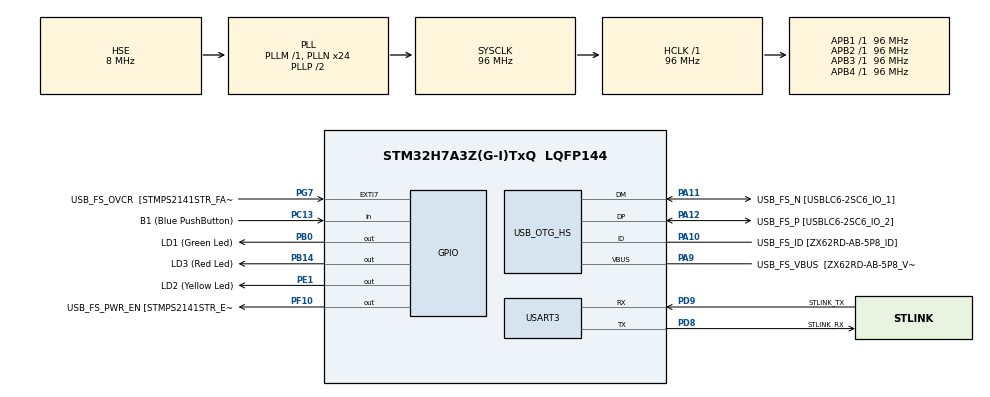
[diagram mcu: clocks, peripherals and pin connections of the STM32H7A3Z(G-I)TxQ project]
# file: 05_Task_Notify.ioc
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Mcu.Family=STM32H7
Mcu.Name=STM32H7A3Z(G-I)TxQ
Mcu.Package=LQFP144
NVIC.PriorityGroup=NVIC_PRIORITYGROUP_4
NVIC.TIM6_DAC_IRQn=true\:15\:0\:false\:false\:true\:false\:true\:true
NVIC.TimeBase=TIM6_DAC_IRQn
NVIC.TimeBaseIP=TIM6
PA10.GPIO_Label=USB_FS_ID [ZX62RD-AB-5P8_ID]
PA10.Mode=OTG/Dual-Role-Device-FS
PA10.Signal=USB_OTG_HS_ID
PA11.GPIO_Label=USB_FS_N [USBLC6-2SC6_IO_1]
PA11.Mode=OTG/Dual-Role-Device-FS
PA11.Signal=USB_OTG_HS_DM
PA12.GPIO_Label=USB_FS_P [USBLC6-2SC6_IO_2]
PA12.Mode=OTG/Dual-Role-Device-FS
PA12.Signal=USB_OTG_HS_DP
PA9.GPIO_Label=USB_FS_VBUS  [ZX62RD-AB-5P8_VBUS]
PA9.Mode=Activate_VBUS_FS
PA9.Signal=USB_OTG_HS_VBUS
PB0.GPIO_Label=LD1 (Green Led)
PB0.Signal=GPIO_Output
PB14.GPIO_Label=LD3 (Red Led)
PB14.Signal=GPIO_Output
PC13.GPIO_Label=B1 (Blue PushButton)
PC13.Signal=GPIO_Input
PC14-OSC32_IN.GPIO_Label=OSC32_IN
PC14-OSC32_IN.Mode=LSE-External-Oscillator
PC14-OSC32_IN.Signal=RCC_OSC32_IN
PC15-OSC32_OUT.GPIO_Label=OSC32_OUT
PC15-OSC32_OUT.Mode=LSE-External-Oscillator
PC15-OSC32_OUT.Signal=RCC_OSC32_OUT
PD8.GPIO_Label=STLINK_RX
PD8.Mode=Asynchronous
PD8.Signal=USART3_TX
PD9.GPIO_Label=STLINK_TX
PD9.Mode=Asynchronous
PD9.Signal=USART3_RX
PE1.GPIO_Label=LD2 (Yellow Led)
PE1.Signal=GPIO_Output
PF10.GPIO_Label=USB_FS_PWR_EN [STMPS2141STR_EN]
PF10.Signal=GPIO_Output
PG7.GPIO_Label=USB_FS_OVCR  [STMPS2141STR_FAULT]
PG7.Signal=GPXTI7
PH0-OSC_IN.GPIO_Label=PH0-MCU
PH0-OSC_IN.Mode=HSE-External-Clock-Source
PH0-OSC_IN.Signal=RCC_OSC_IN
PH1-OSC_OUT.GPIO_Label=PH1-MCU
PH1-OSC_OUT.Signal=RCC_OSC_OUT
ProjectManager.HeapSize=0x200
ProjectManager.StackSize=0x400
ProjectManager.TargetToolchain=STM32CubeIDE
RCC.ADCFreq_Value=16125000
RCC.APB1Freq_Value=96000000
RCC.APB2Freq_Value=96000000
RCC.APB3Freq_Value=96000000
RCC.APB4Freq_Value=96000000
RCC.CortexFreq_Value=96000000
RCC.DIVM1=1
RCC.DIVM3=1
RCC.DIVN1=24
RCC.DIVN3=24
RCC.DIVQ1=4
RCC.HCLKFreq_Value=96000000
RCC.HSE_VALUE=8000000
RCC.PLLFRACN=0
RCC.PLLSourceVirtual=RCC_PLLSOURCE_HSE
RCC.PWR_Regulator_Voltage_Scale=PWR_REGULATOR_VOLTAGE_SCALE0
RCC.SYSCLKFreq_VALUE=96000000
RCC.SYSCLKSource=RCC_SYSCLKSOURCE_PLLCLK
RCC.SupplySource=PWR_DIRECT_SMPS_SUPPLY
RCC.USBCLockSelection=RCC_USBCLKSOURCE_HSI48
RCC.USBFreq_Value=48000000
USART3.VirtualMode-Asynchronous=VM_ASYNC
VP_SYS_VS_tim6.Mode=TIM6
board=NUCLEO-H7A3ZI-Q

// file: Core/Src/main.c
/* USER CODE BEGIN Header */
/**
  ******************************************************************************
  * @file           : main.c
  * @brief          : Main program body
  ******************************************************************************
  * @attention
  *
  * Copyright (c) 2023 STMicroelectronics.
  * All rights reserved.
  *
  * This software is licensed under terms that can be found in the LICENSE file
  * in the root directory of this software component.
  * If no LICENSE file comes with this software, it is provided AS-IS.
  *
  ******************************************************************************
  */
/* USER CODE END Header */
#include "main.h"

/* USER CODE BEGIN Includes */
#include "FreeRTOS.h"
#include "task.h"

/* USER CODE END Includes */

/* USER CODE BEGIN PM */
#define pdMS_TO_TICKS(x) p(x)
/* USER CODE END PM */

UART_HandleTypeDef huart3;

/* USER CODE BEGIN PV */

TaskHandle_t next_handler = NULL;

TaskHandle_t led1_handler;
TaskHandle_t led2_handler;
TaskHandle_t user_button_handler;
TaskHandle_t led3_handler;

/* USER CODE END PV */

void SystemClock_Config(void);
static void MX_GPIO_Init(void);
static void MX_USART3_UART_Init(void);
static void MX_USB_OTG_HS_USB_Init(void);
/* USER CODE BEGIN PFP */

static void button_task(void* parameters);
static void led1_task(void*);
static void led2_task(void*);
static void led3_task(void*);

/* USER CODE END PFP */

int main(void)
{

  /* MCU Configuration--------------------------------------------------------*/

  /* Reset of all peripherals, Initializes the Flash interface and the Systick. */
  HAL_Init();

  /* Configure the system clock */
  SystemClock_Config();

  /* Initialize all configured peripherals */
  MX_GPIO_Init();
  MX_USART3_UART_Init();
  MX_USB_OTG_HS_USB_Init();
  /* USER CODE BEGIN 2 */

  BaseType_t status;
  status = xTaskCreate(button_task, "Button task", 1000, NULL, 2, &user_button_handler);

  configASSERT(status == pdPASS);

  next_handler = led1_handler;

  status = xTaskCreate(led1_task, "Task-1", 1000, NULL, 2, &led1_handler);

  configASSERT(status == pdPASS);

  next_handler = led1_handler;
  status = xTaskCreate(led2_task, "Task-1", 1000, NULL, 2, &led2_handler);

  configASSERT(status == pdPASS);

  status = xTaskCreate(led3_task, "Task-1", 1000, NULL, 2, &led3_handler);

  configASSERT(status == pdPASS);

  vTaskStartScheduler();

  /* USER CODE END 2 */

  /* Infinite loop */
  while (1)
  {

  }
}

void SystemClock_Config(void)
{
  RCC_OscInitTypeDef RCC_OscInitStruct = {0};
  RCC_ClkInitTypeDef RCC_ClkInitStruct = {0};

  /*AXI clock gating */
  RCC->CKGAENR = 0xFFFFFFFF;

  /** Supply configuration update enable
  */
  HAL_PWREx_ConfigSupply(PWR_DIRECT_SMPS_SUPPLY);

  /** Configure the main internal regulator output voltage
  */
  __HAL_PWR_VOLTAGESCALING_CONFIG(PWR_REGULATOR_VOLTAGE_SCALE0);

  while(!__HAL_PWR_GET_FLAG(PWR_FLAG_VOSRDY)) {}

  /** Initializes the RCC Oscillators according to the specified parameters
  * in the RCC_OscInitTypeDef structure.
  */
  RCC_OscInitStruct.OscillatorType = RCC_OSCILLATORTYPE_HSI48|RCC_OSCILLATORTYPE_HSE;
  RCC_OscInitStruct.HSEState = RCC_HSE_BYPASS;
  RCC_OscInitStruct.HSI48State = RCC_HSI48_ON;
  RCC_OscInitStruct.PLL.PLLState = RCC_PLL_ON;
  RCC_OscInitStruct.PLL.PLLSource = RCC_PLLSOURCE_HSE;
  RCC_OscInitStruct.PLL.PLLM = 1;
  RCC_OscInitStruct.PLL.PLLN = 24;
  RCC_OscInitStruct.PLL.PLLP = 2;
  RCC_OscInitStruct.PLL.PLLQ = 4;
  RCC_OscInitStruct.PLL.PLLR = 2;
  RCC_OscInitStruct.PLL.PLLRGE = RCC_PLL1VCIRANGE_3;
  RCC_OscInitStruct.PLL.PLLVCOSEL = RCC_PLL1VCOWIDE;
  RCC_OscInitStruct.PLL.PLLFRACN = 0;
  if (HAL_RCC_OscConfig(&RCC_OscInitStruct) != HAL_OK)
  {
    Error_Handler();
  }

  /** Initializes the CPU, AHB and APB buses clocks
  */
  RCC_ClkInitStruct.ClockType = RCC_CLOCKTYPE_HCLK|RCC_CLOCKTYPE_SYSCLK
                              |RCC_CLOCKTYPE_PCLK1|RCC_CLOCKTYPE_PCLK2
                              |RCC_CLOCKTYPE_D3PCLK1|RCC_CLOCKTYPE_D1PCLK1;
  RCC_ClkInitStruct.SYSCLKSource = RCC_SYSCLKSOURCE_PLLCLK;
  RCC_ClkInitStruct.SYSCLKDivider = RCC_SYSCLK_DIV1;
  RCC_ClkInitStruct.AHBCLKDivider = RCC_HCLK_DIV1;
  RCC_ClkInitStruct.APB3CLKDivider = RCC_APB3_DIV1;
  RCC_ClkInitStruct.APB1CLKDivider = RCC_APB1_DIV1;
  RCC_ClkInitStruct.APB2CLKDivider = RCC_APB2_DIV1;
  RCC_ClkInitStruct.APB4CLKDivider = RCC_APB4_DIV1;

  if (HAL_RCC_ClockConfig(&RCC_ClkInitStruct, FLASH_LATENCY_2) != HAL_OK)
  {
    Error_Handler();
  }
}

static void MX_USART3_UART_Init(void)
{

  huart3.Instance = USART3;
  huart3.Init.BaudRate = 115200;
  huart3.Init.WordLength = UART_WORDLENGTH_8B;
  huart3.Init.StopBits = UART_STOPBITS_1;
  huart3.Init.Parity = UART_PARITY_NONE;
  huart3.Init.Mode = UART_MODE_TX_RX;
  huart3.Init.HwFlowCtl = UART_HWCONTROL_NONE;
  huart3.Init.OverSampling = UART_OVERSAMPLING_16;
  huart3.Init.OneBitSampling = UART_ONE_BIT_SAMPLE_DISABLE;
  huart3.Init.ClockPrescaler = UART_PRESCALER_DIV1;
  huart3.AdvancedInit.AdvFeatureInit = UART_ADVFEATURE_NO_INIT;
  if (HAL_UART_Init(&huart3) != HAL_OK)
  {
    Error_Handler();
  }
  if (HAL_UARTEx_SetTxFifoThreshold(&huart3, UART_TXFIFO_THRESHOLD_1_8) != HAL_OK)
  {
    Error_Handler();
  }
  if (HAL_UARTEx_SetRxFifoThreshold(&huart3, UART_RXFIFO_THRESHOLD_1_8) != HAL_OK)
  {
    Error_Handler();
  }
  if (HAL_UARTEx_DisableFifoMode(&huart3) != HAL_OK)
  {
    Error_Handler();
  }

}

static void MX_USB_OTG_HS_USB_Init(void)
{

}

static void MX_GPIO_Init(void)
{
  GPIO_InitTypeDef GPIO_InitStruct = {0};

  /* GPIO Ports Clock Enable */
  __HAL_RCC_GPIOC_CLK_ENABLE();
  __HAL_RCC_GPIOF_CLK_ENABLE();
  __HAL_RCC_GPIOH_CLK_ENABLE();
  __HAL_RCC_GPIOB_CLK_ENABLE();
  __HAL_RCC_GPIOD_CLK_ENABLE();
  __HAL_RCC_GPIOG_CLK_ENABLE();
  __HAL_RCC_GPIOA_CLK_ENABLE();
  __HAL_RCC_GPIOE_CLK_ENABLE();

  /*Configure GPIO pin Output Level */
  HAL_GPIO_WritePin(USB_FS_PWR_EN_GPIO_Port, USB_FS_PWR_EN_Pin, GPIO_PIN_RESET);

  /*Configure GPIO pin Output Level */
  HAL_GPIO_WritePin(GPIOB, LD1_Pin|LD3_Pin, GPIO_PIN_RESET);

  /*Configure GPIO pin Output Level */
  HAL_GPIO_WritePin(LD2_GPIO_Port, LD2_Pin, GPIO_PIN_RESET);

  /*Configure GPIO pin : B1_Pin */
  GPIO_InitStruct.Pin = B1_Pin;
  GPIO_InitStruct.Mode = GPIO_MODE_INPUT;
  GPIO_InitStruct.Pull = GPIO_NOPULL;
  HAL_GPIO_Init(B1_GPIO_Port, &GPIO_InitStruct);

  /*Configure GPIO pin : USB_FS_PWR_EN_Pin */
  GPIO_InitStruct.Pin = USB_FS_PWR_EN_Pin;
  GPIO_InitStruct.Mode = GPIO_MODE_OUTPUT_PP;
  GPIO_InitStruct.Pull = GPIO_NOPULL;
  GPIO_InitStruct.Speed = GPIO_SPEED_FREQ_LOW;
  HAL_GPIO_Init(USB_FS_PWR_EN_GPIO_Port, &GPIO_InitStruct);

  /*Configure GPIO pins : LD1_Pin LD3_Pin */
  GPIO_InitStruct.Pin = LD1_Pin|LD3_Pin;
  GPIO_InitStruct.Mode = GPIO_MODE_OUTPUT_PP;
  GPIO_InitStruct.Pull = GPIO_NOPULL;
  GPIO_InitStruct.Speed = GPIO_SPEED_FREQ_LOW;
  HAL_GPIO_Init(GPIOB, &GPIO_InitStruct);

  /*Configure GPIO pin : USB_FS_OVCR_Pin */
  GPIO_InitStruct.Pin = USB_FS_OVCR_Pin;
  GPIO_InitStruct.Mode = GPIO_MODE_IT_RISING;
  GPIO_InitStruct.Pull = GPIO_NOPULL;
  HAL_GPIO_Init(USB_FS_OVCR_GPIO_Port, &GPIO_InitStruct);

  /*Configure GPIO pin : USB_FS_VBUS_Pin */
  GPIO_InitStruct.Pin = USB_FS_VBUS_Pin;
  GPIO_InitStruct.Mode = GPIO_MODE_INPUT;
  GPIO_InitStruct.Pull = GPIO_NOPULL;
  HAL_GPIO_Init(USB_FS_VBUS_GPIO_Port, &GPIO_InitStruct);

  /*Configure GPIO pin : USB_FS_ID_Pin */
  GPIO_InitStruct.Pin = USB_FS_ID_Pin;
  GPIO_InitStruct.Mode = GPIO_MODE_AF_PP;
  GPIO_InitStruct.Pull = GPIO_NOPULL;
  GPIO_InitStruct.Speed = GPIO_SPEED_FREQ_LOW;
  GPIO_InitStruct.Alternate = GPIO_AF10_OTG1_HS;
  HAL_GPIO_Init(USB_FS_ID_GPIO_Port, &GPIO_InitStruct);

  /*Configure GPIO pins : USB_FS_N_Pin USB_FS_P_Pin */
  GPIO_InitStruct.Pin = USB_FS_N_Pin|USB_FS_P_Pin;
  GPIO_InitStruct.Mode = GPIO_MODE_AF_PP;
  GPIO_InitStruct.Pull = GPIO_NOPULL;
  GPIO_InitStruct.Speed = GPIO_SPEED_FREQ_LOW;
  HAL_GPIO_Init(GPIOA, &GPIO_InitStruct);

  /*Configure GPIO pin : LD2_Pin */
  GPIO_InitStruct.Pin = LD2_Pin;
  GPIO_InitStruct.Mode = GPIO_MODE_OUTPUT_PP;
  GPIO_InitStruct.Pull = GPIO_NOPULL;
  GPIO_InitStruct.Speed = GPIO_SPEED_FREQ_LOW;
  HAL_GPIO_Init(LD2_GPIO_Port, &GPIO_InitStruct);

}

/* USER CODE BEGIN 4 */

static void button_task(void * parameters){

	uint8_t btn_read = 0;
	uint8_t prev_state = 0;

	TickType_t xLastWakeTime;
	BaseType_t xWasDelayed;

	xLastWakeTime = xTaskGetTickCount ();

	while(1){

	btn_read = HAL_GPIO_ReadPin(B1_GPIO_Port, B1_Pin);

	if(btn_read){

		if(! prev_state){
			xTaskNotify(next_handler,0,eNoAction);
		}
	}
	prev_state = btn_read;
	vTaskDelayUntil(&xLastWakeTime,pdMS_TO_TICKS(10));
	}
}

static void led1_task(void* parameters){

//	TickType_t xLastWakeTime;
	BaseType_t xWasDelayed;

	BaseType_t status;
//	xLastWakeTime = xTaskGetTickCount ();

	while(1){

	HAL_GPIO_TogglePin(LD1_GPIO_Port, LD1_Pin);

	status = xTaskNotifyWait(0,0,NULL,pdMS_TO_TICKS(1000));

	if(status == pdTRUE){
		vTaskSuspendAll();
		next_handler = led2_handler;
		xTaskResumeAll();
		HAL_GPIO_WritePin(LD1_GPIO_Port, LD1_Pin, GPIO_PIN_SET);
		vTaskDelete(NULL);

	}
	}
}

static void led2_task(void* parameters){

//	TickType_t xLastWakeTime;
	BaseType_t xWasDelayed;

//	xLastWakeTime = xTaskGetTickCount ();
	BaseType_t status;

	while(1){

	HAL_GPIO_TogglePin(LD2_GPIO_Port, LD2_Pin);

	status = xTaskNotifyWait(0,0,NULL,pdMS_TO_TICKS(1000));
	if(status == pdTRUE){
		next_handler = led3_handler;
		HAL_GPIO_WritePin(LD2_GPIO_Port, LD2_Pin, GPIO_PIN_SET);
		vTaskDelete(NULL);
		}

	}
}

static void led3_task(void* parameters){

//	TickType_t xLastWakeTime;x
	BaseType_t xWasDelayed;

//	xLastWakeTime = xTaskGetTickCount ();

	BaseType_t status;

		while(1){

		HAL_GPIO_TogglePin(LD3_GPIO_Port, LD3_Pin);

		status = xTaskNotifyWait(0,0,NULL,pdMS_TO_TICKS(1000));
		if(status == pdTRUE){
			next_handler = NULL;
			HAL_GPIO_WritePin(LD3_GPIO_Port, LD3_Pin, GPIO_PIN_SET);
			vTaskDelete(user_button_handler);
			vTaskDelete(NULL);
	}

}

}

/* USER CODE END 4 */

void HAL_TIM_PeriodElapsedCallback(TIM_HandleTypeDef *htim)
{
  if (htim->Instance == TIM6) {
    HAL_IncTick();
  }
}

void Error_Handler(void)
{
  __disable_irq();
  while (1)
  {
  }
}
